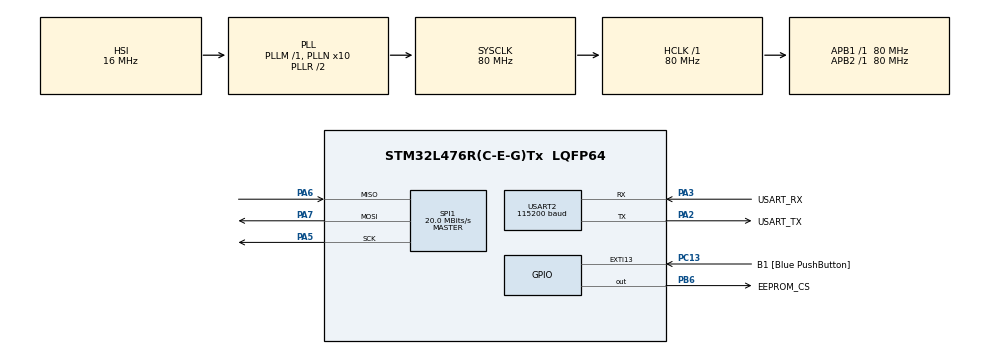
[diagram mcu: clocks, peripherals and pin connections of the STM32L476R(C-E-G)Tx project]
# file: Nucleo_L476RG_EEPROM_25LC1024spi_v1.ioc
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Mcu.Family=STM32L4
Mcu.Name=STM32L476R(C-E-G)Tx
Mcu.Package=LQFP64
NVIC.PriorityGroup=NVIC_PRIORITYGROUP_4
PA13\ (JTMS-SWDIO).GPIO_Label=TMS
PA13\ (JTMS-SWDIO).Mode=Serial_Wire
PA13\ (JTMS-SWDIO).Signal=SYS_JTMS-SWDIO
PA14\ (JTCK-SWCLK).GPIO_Label=TCK
PA14\ (JTCK-SWCLK).Mode=Serial_Wire
PA14\ (JTCK-SWCLK).Signal=SYS_JTCK-SWCLK
PA2.GPIO_Label=USART_TX
PA2.GPIO_Mode=GPIO_MODE_AF_PP
PA2.GPIO_PuPd=GPIO_NOPULL
PA2.GPIO_Speed=GPIO_SPEED_FREQ_VERY_HIGH
PA2.Mode=Asynchronous
PA2.Signal=USART2_TX
PA3.GPIO_Label=USART_RX
PA3.GPIO_Mode=GPIO_MODE_AF_PP
PA3.GPIO_PuPd=GPIO_NOPULL
PA3.GPIO_Speed=GPIO_SPEED_FREQ_VERY_HIGH
PA3.Mode=Asynchronous
PA3.Signal=USART2_RX
PA5.Mode=Full_Duplex_Master
PA5.Signal=SPI1_SCK
PA6.Mode=Full_Duplex_Master
PA6.Signal=SPI1_MISO
PA7.Mode=Full_Duplex_Master
PA7.Signal=SPI1_MOSI
PB3\ (JTDO-TRACESWO).Signal=SYS_JTDO-SWO
PB6.GPIO_Label=EEPROM_CS
PB6.Signal=GPIO_Output
PC13.GPIO_Label=B1 [Blue PushButton]
PC13.GPIO_ModeDefaultEXTI=GPIO_MODE_IT_FALLING
PC13.GPIO_PuPd=GPIO_NOPULL
PC13.Signal=GPXTI13
PC14-OSC32_IN\ (PC14).Mode=LSE-External-Oscillator
PC14-OSC32_IN\ (PC14).Signal=RCC_OSC32_IN
PC15-OSC32_OUT\ (PC15).Mode=LSE-External-Oscillator
PC15-OSC32_OUT\ (PC15).Signal=RCC_OSC32_OUT
PH0-OSC_IN\ (PH0).Signal=RCC_OSC_IN
PH1-OSC_OUT\ (PH1).Signal=RCC_OSC_OUT
ProjectManager.HeapSize=0x200
ProjectManager.StackSize=0x400
ProjectManager.TargetToolchain=STM32CubeIDE
RCC.ADCFreq_Value=64000000
RCC.AHBFreq_Value=80000000
RCC.APB1Freq_Value=80000000
RCC.APB1TimFreq_Value=80000000
RCC.APB2Freq_Value=80000000
RCC.APB2TimFreq_Value=80000000
RCC.CortexFreq_Value=80000000
RCC.HCLKFreq_Value=80000000
RCC.HSE_VALUE=8000000
RCC.HSI_VALUE=16000000
RCC.MSI_VALUE=4000000
RCC.PLLN=10
RCC.PLLSourceVirtual=RCC_PLLSOURCE_HSI
RCC.PREFETCH_ENABLE=1
RCC.SYSCLKFreq_VALUE=80000000
RCC.SYSCLKSource=RCC_SYSCLKSOURCE_PLLCLK
RCC.USBFreq_Value=64000000
RCC.VCOOutputFreq_Value=160000000
SPI1.BaudRatePrescaler=SPI_BAUDRATEPRESCALER_4
SPI1.CLKPolarity=SPI_POLARITY_LOW
SPI1.CalculateBaudRate=20.0 MBits/s
SPI1.DataSize=SPI_DATASIZE_8BIT
SPI1.Direction=SPI_DIRECTION_2LINES
SPI1.Mode=SPI_MODE_MASTER
SPI1.NSSPMode=SPI_NSS_PULSE_DISABLE
SPI1.VirtualType=VM_MASTER
USART2.BaudRate=115200
USART2.VirtualMode-Asynchronous=VM_ASYNC
board=NUCLEO-L476RG

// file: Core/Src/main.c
/* USER CODE BEGIN Header */
/**
 ******************************************************************************
 * @file           : main.c
 * @brief          : Main program body
 ******************************************************************************
 * @attention
 *
 * Copyright (c) 2023 STMicroelectronics.
 * All rights reserved.
 *
 * This software is licensed under terms that can be found in the LICENSE file
 * in the root directory of this software component.
 * If no LICENSE file comes with this software, it is provided AS-IS.
 *
 ******************************************************************************
 */
/* USER CODE END Header */
#include "main.h"

/* USER CODE BEGIN Includes */

#include <stdio.h>
#include "STM32_EEPROM_SPI.h"

/* USER CODE END Includes */

SPI_HandleTypeDef hspi1;

UART_HandleTypeDef huart2;

/* USER CODE BEGIN PV */

const uint8_t TxBuffer[] = "The MCP 25LC1024 is a specific integrated circuit (IC) from the Microchip Technology's family of serial EEPROM (Electrically Erasable Programmable Read-Only Memory) devices. EEPROM is a \
		non-volatile memory technology that allows for the storage and retrieval of data even when the power is turned off.\
		The 25LC1024 is a serial EEPROM chip with a storage capacity of 1,048,576 bits, equivalent to 128 kilobytes (KB). \
		It uses a standard SPI (Serial Peripheral Interface) bus for communication, which makes it compatible with a \
		wide range of microcontrollers and other digital devices.";

/* Size of Transmission buffer */
#define TXBUFFERSIZE                      (COUNTOF(TxBuffer) - 1)
/* Size of Reception buffer */
#define RXBUFFERSIZE                      TXBUFFERSIZE

uint8_t RxBuffer[RXBUFFERSIZE];

HAL_StatusTypeDef hal_status = HAL_OK;

/* USER CODE END PV */

void SystemClock_Config(void);
static void MX_GPIO_Init(void);
static void MX_SPI1_Init(void);
static void MX_USART2_UART_Init(void);
/* USER CODE BEGIN PFP */

/************ Byte transfer functions ***************************/
EEPROM_Status EEPROM_WriteByte(uint32_t WriteAddr, uint8_t data);
EEPROM_Status EEPROM_ReadByte(uint32_t ReadAddr, uint8_t *pBuffer);

/* USER CODE END PFP */

/* USER CODE BEGIN 0 */

// WARNING UART2 is connected to st-link
// Properties -> Settings -> MCU_Settings -> select use float with printf
/*
 * USART2, BaudRate = 115200, WordLength = UART_WORDLENGTH_8B, StopBits = UART_STOPBITS_1;
 * */
int _write(int file, char *ptr, int len)
{
	HAL_UART_Transmit(&huart2,(uint8_t *)ptr, len, HAL_TIMEOUT);
	return len;
}

/**
 * @brief  On Error Handler on condition TRUE.
 * @param  condition : Can be TRUE or FALSE
 * @retval None
 */
static void OnError_Handler(uint32_t condition)
{
	if(condition)
	{
		//BSP_LED_On(LED1);
		while(1) { ; } /* Blocking on error */
	}
}

void transformAddress(uint32_t address, uint8_t byteArray[3]) {
	byteArray[0] = (address >> 16) & 0xFF;  // Extract the most significant byte
	byteArray[1] = (address >> 8) & 0xFF;   // Extract the middle byte
	byteArray[2] =  address & 0xFF;         // Extract the least significant byte
}

static void test_eeprom(void)
{
	/*
	 https://www.digikey.fr/en/maker/projects/getting-started-with-stm32-how-to-use-spi/09eab3dfe74c4d0391aaaa99b0a8ee17
	 */

	// 25LC1024 SPI EEPROM instructions
	const uint8_t __EEPROM_WREN  = 0b00000110; /*!< Write Enable */
//	const uint8_t __EEPROM_WRDI  = 0b00000100; /*!< Write Disable */
	const uint8_t __EEPROM_RDSR  = 0b00000101; /*!< Read Status Register */
//	const uint8_t __EEPROM_WRSR  = 0b00000001; /*!< Write Status Register */
	const uint8_t __EEPROM_READ  = 0b00000011; /*!< Read from Memory Array */
	const uint8_t __EEPROM_WRITE = 0b00000010; /*!< Write to Memory Array */

	char uart_buf[50];
	int uart_buf_len;
	char spi_buf[20];
	uint8_t wip;
	uint32_t addr;
	uint8_t  addrArray[3];

	// CS pin should default high
	EEPROM_CS_HIGH();

	// Say something
	uart_buf_len = sprintf(uart_buf, "SPI Test\r\n");
	HAL_UART_Transmit(&huart2, (uint8_t *)uart_buf, uart_buf_len, 100);

	// Enable write enable latch (allow write operations)
	EEPROM_CS_LOW();
	HAL_SPI_Transmit(&hspi1, (uint8_t *)&__EEPROM_WREN, 1, 100);
	EEPROM_CS_HIGH();

	// Read status register
	EEPROM_CS_LOW();
	HAL_SPI_Transmit(&hspi1, (uint8_t *)&__EEPROM_RDSR, 1, 100);
	HAL_SPI_Receive(&hspi1, (uint8_t *)spi_buf, 1, 100);
	EEPROM_CS_HIGH();

	// Print out status register
	uart_buf_len = sprintf(uart_buf,
			"Status: %0x\r\n",
			(unsigned int)spi_buf[0]);
	HAL_UART_Transmit(&huart2, (uint8_t *)uart_buf, uart_buf_len, 100);

	// Test bytes to write to EEPROM
	spi_buf[0] = 0xAB;
	spi_buf[1] = 0xCD;
	spi_buf[2] = 0xEF;

	// Set starting address
	addr = 0x00ABCDEF; // 24-bit address value
	transformAddress(addr, addrArray);

	// Write 3 bytes starting at given address
	EEPROM_CS_LOW();
	HAL_SPI_Transmit(&hspi1, (uint8_t *)&__EEPROM_WRITE, 1, 100);
	HAL_SPI_Transmit(&hspi1, (uint8_t *) addrArray, 3, 100);
	HAL_SPI_Transmit(&hspi1, (uint8_t *)spi_buf, 3, 100);
	EEPROM_CS_HIGH();

	// Clear buffer
	spi_buf[0] = 0;
	spi_buf[1] = 0;
	spi_buf[2] = 0;

	// Wait until WIP bit is cleared
	wip = 1;
	while (wip)
	{
		// Read status register
		EEPROM_CS_LOW();
		HAL_SPI_Transmit(&hspi1, (uint8_t *)&__EEPROM_RDSR, 1, 100);
		HAL_SPI_Receive (&hspi1, (uint8_t *)spi_buf, 1, 100);
		EEPROM_CS_HIGH();

		// Mask out WIP bit
		wip = spi_buf[0] & 0b00000001;
	}

	// Read the 3 bytes back
	EEPROM_CS_LOW();
	HAL_SPI_Transmit(&hspi1, (uint8_t *)&__EEPROM_READ, 1, 100);
	HAL_SPI_Transmit(&hspi1, (uint8_t *) addrArray, 3, 100);
	HAL_SPI_Receive(&hspi1, (uint8_t *)spi_buf, 3, 100);
	EEPROM_CS_HIGH();

	// Print out bytes read
	uart_buf_len = sprintf(uart_buf,
			"%0x %0x %0x\r\n",
			(unsigned int)spi_buf[0],
			(unsigned int)spi_buf[1],
			(unsigned int)spi_buf[2]);
	HAL_UART_Transmit(&huart2, (uint8_t *)uart_buf, uart_buf_len, 100);

	// Read status register
	EEPROM_CS_LOW();
	HAL_SPI_Transmit(&hspi1, (uint8_t *)&__EEPROM_RDSR, 1, 100);
	HAL_SPI_Receive(&hspi1, (uint8_t *)spi_buf, 1, 100);
	EEPROM_CS_HIGH();

	// Print out status register
	uart_buf_len = sprintf(uart_buf,
			"Status: %0x\r\n",
			(unsigned int)spi_buf[0]);
	HAL_UART_Transmit(&huart2, (uint8_t *)uart_buf, uart_buf_len, 100);
}

static void test_eeprom_adv(void)
{
	/*
	 https://www.digikey.fr/en/maker/projects/getting-started-with-stm32-how-to-use-spi/09eab3dfe74c4d0391aaaa99b0a8ee17
	 */

	char uart_buf[50];
	int uart_buf_len;
	uint8_t spi_buf[20];
	uint32_t addr;

	// CS pin should default high
	EEPROM_CS_HIGH();

	// Say something
	uart_buf_len = sprintf(uart_buf, "SPI Test\r\n");
	HAL_UART_Transmit(&huart2, (uint8_t *)uart_buf, uart_buf_len, 100);

	// Enable write enable latch (allow write operations)
	sEE_WriteEnable();

	// Read status register
	spi_buf[0]=sEE_ReadStatusRegister();

	// Print out status register
	uart_buf_len = sprintf(uart_buf,
			"Status: %0x\r\n",
			(unsigned int)spi_buf[0]);
	HAL_UART_Transmit(&huart2, (uint8_t *)uart_buf, uart_buf_len, 100);

	// Test bytes to write to EEPROM
	spi_buf[0] = 0xAB;
	spi_buf[1] = 0xCD;
	spi_buf[2] = 0xEF;

	// Set starting address
	addr = 0x00ABCDEF; // 24-bit address value

	// Write 3 bytes starting at given address
	EEPROM_SPI_WriteBuffer(spi_buf, addr, 3);

	// Clear buffer
	spi_buf[0] = 0;
	spi_buf[1] = 0;
	spi_buf[2] = 0;

	// Wait until WIP bit is cleared
    EEPROM_SPI_WaitStandbyState();

	// Read the 3 bytes back
    EEPROM_SPI_ReadBuffer(spi_buf, addr, 3);

	// Print out bytes read
	uart_buf_len = sprintf(uart_buf,
			"%0x %0x %0x\r\n",
			(unsigned int)spi_buf[0],
			(unsigned int)spi_buf[1],
			(unsigned int)spi_buf[2]);
	HAL_UART_Transmit(&huart2, (uint8_t *)uart_buf, uart_buf_len, 100);

	// Read status register
	spi_buf[0]=sEE_ReadStatusRegister();

	// Print out status register
	uart_buf_len = sprintf(uart_buf,
			"Status: %0x\r\n",
			(unsigned int)spi_buf[0]);
	HAL_UART_Transmit(&huart2, (uint8_t *)uart_buf, uart_buf_len, 100);
}
/* USER CODE END 0 */

int main(void)
{

  /* MCU Configuration--------------------------------------------------------*/

  /* Reset of all peripherals, Initializes the Flash interface and the Systick. */
  HAL_Init();

  /* Configure the system clock */
  SystemClock_Config();

  /* Initialize all configured peripherals */
  MX_GPIO_Init();
  MX_SPI1_Init();
  MX_USART2_UART_Init();
  /* USER CODE BEGIN 2 */

	EEPROM_SPI_INIT(&hspi1);
	hal_status = HAL_SPIEx_FlushRxFifo(&hspi1);
	OnError_Handler(hal_status != HAL_OK);

	test_eeprom_adv();

	uint8_t wdata=0x66, rdata=0;
	EEPROM_WriteByte((uint32_t)0x00,  wdata);
	EEPROM_ReadByte( (uint32_t)0x00, &rdata);
	if (wdata != rdata) Error_Handler();

	EEPROM_Status status = EEPROM_SPI_WriteBuffer(TxBuffer, (uint32_t)0x00, (uint16_t)TXBUFFERSIZE);
	printf("string length %d\n\n", TXBUFFERSIZE);
    printf("Writing EEPROM Status %d\n", status);
	OnError_Handler(status != EEPROM_STATUS_COMPLETE);

	for (;;) {
		EEPROM_Status status = EEPROM_SPI_ReadBuffer(RxBuffer, (uint32_t)0x00, (uint16_t)RXBUFFERSIZE);
        printf("Reading EEPROM Status %d\n", status);
    	OnError_Handler(status != EEPROM_STATUS_COMPLETE);
		HAL_Delay(5000);
	}

  /* USER CODE END 2 */

  /* Infinite loop */
	while (1)
	{

	}
}

void SystemClock_Config(void)
{
  RCC_OscInitTypeDef RCC_OscInitStruct = {0};
  RCC_ClkInitTypeDef RCC_ClkInitStruct = {0};

  /** Configure the main internal regulator output voltage
  */
  if (HAL_PWREx_ControlVoltageScaling(PWR_REGULATOR_VOLTAGE_SCALE1) != HAL_OK)
  {
    Error_Handler();
  }

  /** Initializes the RCC Oscillators according to the specified parameters
  * in the RCC_OscInitTypeDef structure.
  */
  RCC_OscInitStruct.OscillatorType = RCC_OSCILLATORTYPE_HSI;
  RCC_OscInitStruct.HSIState = RCC_HSI_ON;
  RCC_OscInitStruct.HSICalibrationValue = RCC_HSICALIBRATION_DEFAULT;
  RCC_OscInitStruct.PLL.PLLState = RCC_PLL_ON;
  RCC_OscInitStruct.PLL.PLLSource = RCC_PLLSOURCE_HSI;
  RCC_OscInitStruct.PLL.PLLM = 1;
  RCC_OscInitStruct.PLL.PLLN = 10;
  RCC_OscInitStruct.PLL.PLLP = RCC_PLLP_DIV7;
  RCC_OscInitStruct.PLL.PLLQ = RCC_PLLQ_DIV2;
  RCC_OscInitStruct.PLL.PLLR = RCC_PLLR_DIV2;
  if (HAL_RCC_OscConfig(&RCC_OscInitStruct) != HAL_OK)
  {
    Error_Handler();
  }

  /** Initializes the CPU, AHB and APB buses clocks
  */
  RCC_ClkInitStruct.ClockType = RCC_CLOCKTYPE_HCLK|RCC_CLOCKTYPE_SYSCLK
                              |RCC_CLOCKTYPE_PCLK1|RCC_CLOCKTYPE_PCLK2;
  RCC_ClkInitStruct.SYSCLKSource = RCC_SYSCLKSOURCE_PLLCLK;
  RCC_ClkInitStruct.AHBCLKDivider = RCC_SYSCLK_DIV1;
  RCC_ClkInitStruct.APB1CLKDivider = RCC_HCLK_DIV1;
  RCC_ClkInitStruct.APB2CLKDivider = RCC_HCLK_DIV1;

  if (HAL_RCC_ClockConfig(&RCC_ClkInitStruct, FLASH_LATENCY_4) != HAL_OK)
  {
    Error_Handler();
  }
}

static void MX_SPI1_Init(void)
{

  /* SPI1 parameter configuration*/
  hspi1.Instance = SPI1;
  hspi1.Init.Mode = SPI_MODE_MASTER;
  hspi1.Init.Direction = SPI_DIRECTION_2LINES;
  hspi1.Init.DataSize = SPI_DATASIZE_8BIT;
  hspi1.Init.CLKPolarity = SPI_POLARITY_LOW;
  hspi1.Init.CLKPhase = SPI_PHASE_1EDGE;
  hspi1.Init.NSS = SPI_NSS_SOFT;
  hspi1.Init.BaudRatePrescaler = SPI_BAUDRATEPRESCALER_4;
  hspi1.Init.FirstBit = SPI_FIRSTBIT_MSB;
  hspi1.Init.TIMode = SPI_TIMODE_DISABLE;
  hspi1.Init.CRCCalculation = SPI_CRCCALCULATION_DISABLE;
  hspi1.Init.CRCPolynomial = 7;
  hspi1.Init.CRCLength = SPI_CRC_LENGTH_DATASIZE;
  hspi1.Init.NSSPMode = SPI_NSS_PULSE_DISABLE;
  if (HAL_SPI_Init(&hspi1) != HAL_OK)
  {
    Error_Handler();
  }

}

static void MX_USART2_UART_Init(void)
{

  huart2.Instance = USART2;
  huart2.Init.BaudRate = 115200;
  huart2.Init.WordLength = UART_WORDLENGTH_8B;
  huart2.Init.StopBits = UART_STOPBITS_1;
  huart2.Init.Parity = UART_PARITY_NONE;
  huart2.Init.Mode = UART_MODE_TX_RX;
  huart2.Init.HwFlowCtl = UART_HWCONTROL_NONE;
  huart2.Init.OverSampling = UART_OVERSAMPLING_16;
  huart2.Init.OneBitSampling = UART_ONE_BIT_SAMPLE_DISABLE;
  huart2.AdvancedInit.AdvFeatureInit = UART_ADVFEATURE_NO_INIT;
  if (HAL_UART_Init(&huart2) != HAL_OK)
  {
    Error_Handler();
  }

}

static void MX_GPIO_Init(void)
{
  GPIO_InitTypeDef GPIO_InitStruct = {0};

  /* GPIO Ports Clock Enable */
  __HAL_RCC_GPIOC_CLK_ENABLE();
  __HAL_RCC_GPIOH_CLK_ENABLE();
  __HAL_RCC_GPIOA_CLK_ENABLE();
  __HAL_RCC_GPIOB_CLK_ENABLE();

  /*Configure GPIO pin Output Level */
  HAL_GPIO_WritePin(EEPROM_CS_GPIO_Port, EEPROM_CS_Pin, GPIO_PIN_RESET);

  /*Configure GPIO pin : B1_Pin */
  GPIO_InitStruct.Pin = B1_Pin;
  GPIO_InitStruct.Mode = GPIO_MODE_IT_FALLING;
  GPIO_InitStruct.Pull = GPIO_NOPULL;
  HAL_GPIO_Init(B1_GPIO_Port, &GPIO_InitStruct);

  /*Configure GPIO pin : EEPROM_CS_Pin */
  GPIO_InitStruct.Pin = EEPROM_CS_Pin;
  GPIO_InitStruct.Mode = GPIO_MODE_OUTPUT_PP;
  GPIO_InitStruct.Pull = GPIO_NOPULL;
  GPIO_InitStruct.Speed = GPIO_SPEED_FREQ_LOW;
  HAL_GPIO_Init(EEPROM_CS_GPIO_Port, &GPIO_InitStruct);

}

/* USER CODE BEGIN 4 */

/************ Byte transfer functions ***************************/
EEPROM_Status EEPROM_WriteByte(uint32_t WriteAddr, uint8_t data) {
	EEPROM_Status pageWriteStatus = EEPROM_STATUS_PENDING;
	uint8_t pBuffer[1];
	pBuffer[0] = data;

	pageWriteStatus = EEPROM_SPI_WriteBuffer(pBuffer, WriteAddr, 1);

	return pageWriteStatus;
}

EEPROM_Status EEPROM_ReadByte(uint32_t ReadAddr, uint8_t *pBuffer) {
	EEPROM_Status pageWriteStatus = EEPROM_STATUS_PENDING;
	pageWriteStatus = EEPROM_SPI_ReadBuffer(pBuffer, ReadAddr, 1);

	return pageWriteStatus;
}

/* USER CODE END 4 */

void Error_Handler(void)
{
	__disable_irq();
	while (1)
	{
	}
}
